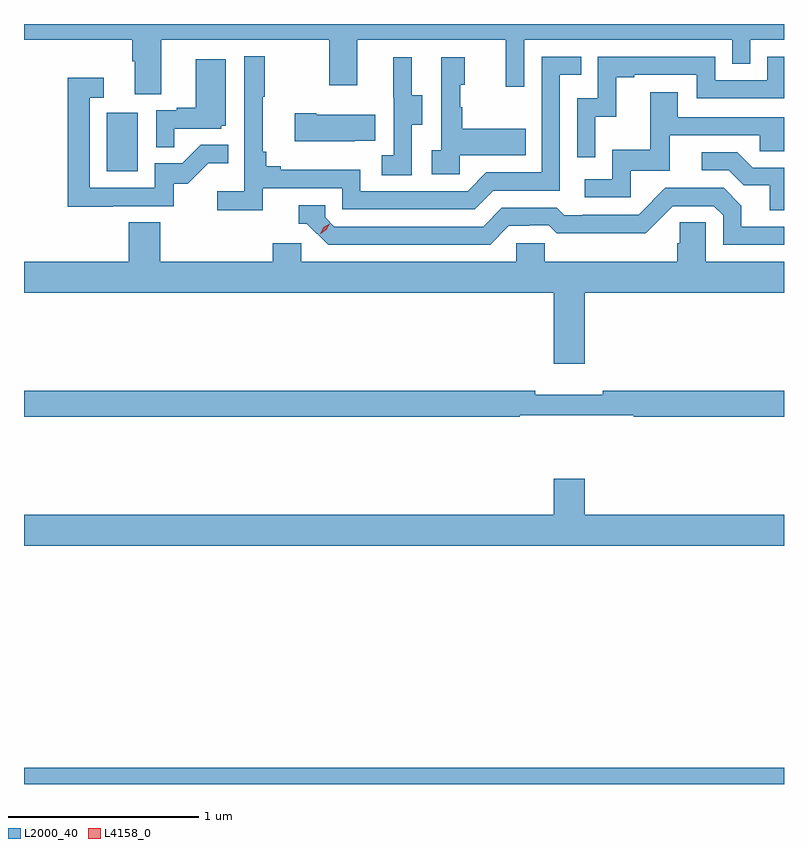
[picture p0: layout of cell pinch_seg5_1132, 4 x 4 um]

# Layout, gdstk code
import gdstk
lib = gdstk.Library(unit=1e-6, precision=1e-09)
def R(c, l, rs):  # rectangles x0, y0, x1, y1
    for r in rs: c.add(gdstk.rectangle(r[:2], r[2:], *l))
def P(c, l, *ps):  # polygons
    for p in ps: c.add(gdstk.Polygon(p, *l))
L2000_40 = (2000, 40)
L4158_0 = (4158, 0)

pinch_seg5_1132 = lib.new_cell('pinch_seg5_1132')
R(pinch_seg5_1132, L2000_40, [(845.537,850.179,849.537,850.264), (845.972,853.404,846.136,853.711)])
P(pinch_seg5_1132, L2000_40, [(846.259,854.096),(847.144,854.096),(847.144,853.857),(847.291,853.857),(847.291,854.096),(848.072,854.096),(848.072,853.848),(848.169,853.848),(848.169,854.096),(849.264,854.096),(849.264,853.969),(849.36,853.969),(849.36,854.096),(849.537,854.096),(849.537,854.179),(845.537,854.179),(845.537,854.096),(846.107,854.096),(846.107,853.984),(846.119,853.984),(846.119,853.81),(846.259,853.81)],
  [(846.794,853.314),(847.212,853.314),(847.212,853.203),(847.909,853.203),(848.008,853.302),(848.358,853.302),(848.358,853.911),(848.471,853.911),(848.471,854.007),(848.262,854.007),(848.262,853.398),(847.971,853.398),(847.872,853.299),(847.308,853.299),(847.308,853.411),(846.889,853.411),(846.889,853.43),(846.812,853.43),(846.812,853.507),(846.793,853.507),(846.793,853.795),(846.805,853.795),(846.805,854.008),(846.696,854.008),(846.696,853.3),(846.555,853.3),(846.555,853.198),(846.794,853.198)],
  [(848.544,853.691),(848.654,853.691),(848.654,853.899),(848.749,853.899),(848.749,853.911),(849.078,853.911),(849.078,853.788),(849.537,853.788),(849.537,854.007),(849.45,854.007),(849.45,853.884),(849.174,853.884),(849.174,854.007),(848.556,854.007),(848.556,853.788),(848.448,853.788),(848.448,853.479),(848.544,853.479)],
  [(847.578,853.648),(847.633,853.648),(847.633,853.803),(847.579,853.803),(847.579,854.005),(847.481,854.005),(847.481,853.791),(847.482,853.791),(847.482,853.487),(847.419,853.487),(847.419,853.384),(847.578,853.384)],
  [(847.83,853.487),(848.177,853.487),(848.177,853.627),(847.843,853.627),(847.843,853.742),(847.833,853.742),(847.833,853.86),(847.858,853.86),(847.858,854.005),(847.734,854.005),(847.734,853.514),(847.683,853.514),(847.683,853.389),(847.83,853.389)],
  [(846.329,853.629),(846.576,853.629),(846.576,853.644),(846.598,853.644),(846.598,853.993),(846.44,853.993),(846.44,853.738),(846.341,853.738),(846.341,853.725),(846.234,853.725),(846.234,853.531),(846.329,853.531)],
  [(846.005,853.221),(846.324,853.221),(846.324,853.338),(846.4,853.338),(846.507,853.445),(846.611,853.445),(846.611,853.544),(846.467,853.544),(846.369,853.446),(846.225,853.446),(846.225,853.317),(845.883,853.317),(845.883,853.791),(845.956,853.791),(845.956,853.897),(845.767,853.897),(845.767,853.216),(846.005,853.216)],
  [(848.73,853.407),(848.935,853.407),(848.935,853.593),(849.409,853.593),(849.409,853.509),(849.537,853.509),(849.537,853.689),(848.977,853.689),(848.977,853.819),(848.833,853.819),(848.833,853.516),(848.634,853.516),(848.634,853.362),(848.487,853.362),(848.487,853.266),(848.73,853.266)],
  [(847.277,853.565),(847.385,853.565),(847.385,853.702),(847.075,853.702),(847.075,853.71),(846.963,853.71),(846.963,853.562),(847.277,853.562)],
  [(849.537,853.422),(849.373,853.422),(849.292,853.503),(849.105,853.503),(849.105,853.41),(849.246,853.41),(849.326,853.33),(849.461,853.33),(849.461,853.198),(849.537,853.198)],
  [(848.089,853.116),(848.196,853.116),(848.196,853.119),(848.299,853.119),(848.341,853.077),(848.574,853.077),(848.574,853.079),(848.81,853.079),(848.952,853.221),(849.168,853.221),(849.216,853.173),(849.216,853.017),(849.537,853.017),(849.537,853.113),(849.313,853.113),(849.313,853.223),(849.219,853.317),(848.913,853.317),(848.772,853.176),(848.479,853.176),(848.479,853.173),(848.38,853.173),(848.341,853.212),(848.052,853.212),(847.953,853.113),(847.17,853.113),(847.122,853.161),(847.122,853.224),(846.983,853.224),(846.983,853.128),(847.026,853.128),(847.137,853.017),(847.99,853.017)],
  [(848.488,852.764),(849.537,852.764),(849.537,852.928),(849.126,852.928),(849.126,853.136),(848.989,853.136),(848.989,853.026),(848.975,853.026),(848.975,852.928),(848.277,852.928),(848.277,853.026),(848.127,853.026),(848.127,852.928),(846.996,852.928),(846.996,853.026),(846.845,853.026),(846.845,852.928),(846.254,852.928),(846.254,853.136),(846.089,853.136),(846.089,852.928),(845.537,852.928),(845.537,852.764),(848.324,852.764),(848.324,852.39),(848.488,852.39)],
  [(848.145,852.12),(848.745,852.12),(848.745,852.112),(849.537,852.112),(849.537,852.248),(848.584,852.248),(848.584,852.229),(848.228,852.229),(848.228,852.248),(845.537,852.248),(845.537,852.112),(848.145,852.112)],
  [(849.537,851.596),(848.488,851.596),(848.488,851.785),(848.324,851.785),(848.324,851.596),(845.537,851.596),(845.537,851.432),(849.537,851.432)])
P(pinch_seg5_1132, L4158_0, [(847.097,853.076),(847.097,853.076),(847.114,853.109),(847.145,853.128),(847.145,853.128),(847.145,853.128),(847.129,853.095),(847.098,853.076)])

lib.write_gds('pinch_seg5_1132.gds')
